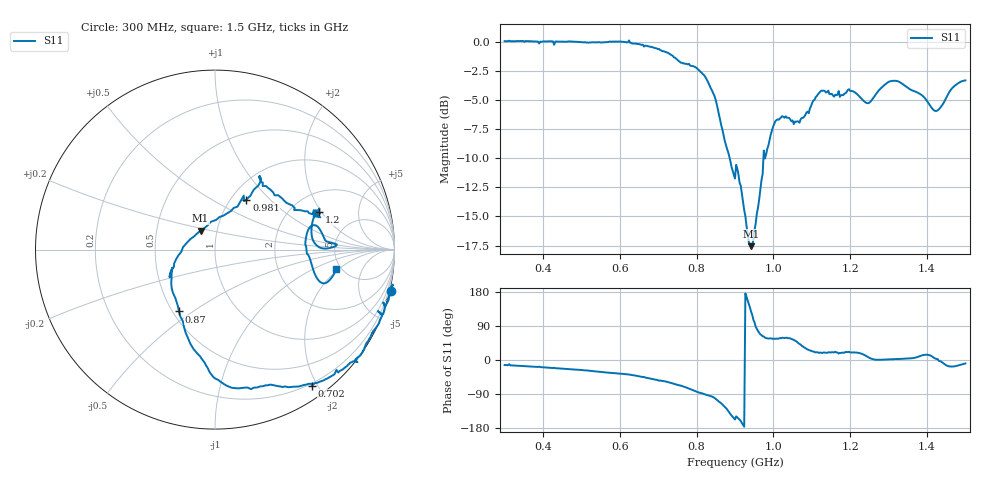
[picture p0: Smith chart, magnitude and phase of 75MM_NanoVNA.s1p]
!File created by NanoVNA
# Hz S RI R 50
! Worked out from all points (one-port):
!   401 points, 300 MHz to 1.5 GHz, reference 50 ohm
!   lowest |S11| = -17.5 dB at 942 MHz (marker M1), VSWR 1.31, Z = 41.7 + j8.96 ohm
!   |S11| at or under -10 dB: 886.2 MHz to 974 MHz (87.84 MHz wide, 9.44 % of centre); 977.8736 MHz to 978.2439 MHz (370.3 kHz wide, 0.0379 % of centre)
!   S11 on the Smith chart (normalised r, x): 300 MHz: -0.18, -8.56; 702 MHz: 0.17, -1.93; 870 MHz: 0.54, -0.44; 981 MHz: 1.18, +0.73; 1.2 GHz: 2.81, +1.89; 1.5 GHz: 4.52, -1.83
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3e8  0.9778 -0.2315
4.5e8  0.9231 -0.386
6e8  0.8108 -0.5884
6.45e8  0.7263 -0.6549
7.02e8  0.5391 -0.7584
7.5e8  0.345 -0.76
7.95e8  0.1142 -0.7721
8.19e8  0.00227 -0.7192
8.46e8  -0.0981 -0.5794
8.7e8  -0.2009 -0.3443
9e8  -0.2381 -0.1009
9.09e8  -0.2436 -0.1157
9.42e8  -0.0803 0.1055
9.51e8  -0.0243 0.1543
9.81e8  0.1748 0.2778
1.008e9  0.256 0.3829
1.05e9  0.2663 0.3741
1.092e9  0.4407 0.2206
1.122e9  0.5741 0.2062
1.2e9  0.5782 0.2091
1.242e9  0.5371 0.0987
1.266e9  0.592 0.00835
1.308e9  0.6778 0.0246
1.35e9  0.6318 0.0419
1.395e9  0.5544 0.1364
1.422e9  0.503 0.0325
1.461e9  0.5903 -0.1832
1.5e9  0.6734 -0.1081
